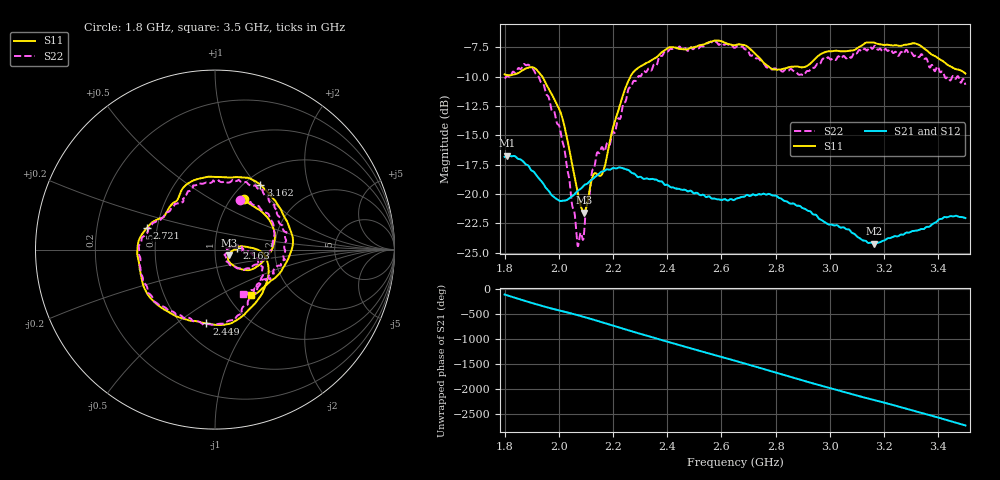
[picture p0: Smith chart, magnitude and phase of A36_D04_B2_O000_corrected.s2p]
! Created with skrf 1.9.0 (http://scikit-rf.org).
# Hz S RI R 50.0
!freq ReS11 ImS11 ReS21 ImS21 ReS12 ImS12 ReS22 ImS22
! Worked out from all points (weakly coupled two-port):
!   1601 points, 1.8 GHz to 3.5 GHz, reference 50 ohm
!   highest |S21| = -16.74 dB at 1.811 GHz (marker M1); lowest = -24.2 dB at 3.162 GHz (marker M2)
!   lowest |S11| = -21.6 dB at 2.093 GHz (marker M3), VSWR 1.18, Z = 58.3 - j3.49 ohm
!   |S11| at or under -10 dB: 1.939 GHz to 2.264 GHz (325.3 MHz wide, 15.5 % of centre)
!   |S22| runs from -24.4 to -7.0 dB; largest |S21 - S12| = 0.0024
!   S11 on the Smith chart (normalised r, x): 1.8 GHz: 1.14, +0.72; 2.163 GHz: 1.28, +0.03; 2.449 GHz: 0.65, -0.65; 2.721 GHz: 0.44, +0.13; 3.162 GHz: 1.17, +1.05; 3.5 GHz: 1.27, -0.73
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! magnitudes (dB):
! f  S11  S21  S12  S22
! 1.8 GHz  -9.8  -16.8  -16.8  -10.2
! 1.811 GHz  -9.9  -16.7  -16.7  -9.9
! 1.882 GHz  -9.3  -17.5  -17.5  -9.0
! 1.942 GHz  -10.1  -19.1  -19.1  -10.6
! 2.011 GHz  -13.4  -20.6  -20.6  -15.4
! 2.068 GHz  -19.7  -19.8  -19.8  -24.2
! 2.084 GHz  -21.2  -19.5  -19.4  -23.4
! 2.093 GHz  -21.6  -19.3  -19.3  -23.3
! 2.129 GHz  -18.3  -18.6  -18.6  -17.8
! 2.163 GHz  -18.1  -18.1  -18.0  -16.1
! 2.203 GHz  -14.1  -17.8  -17.8  -14.7
! 2.26 GHz  -10.2  -18.0  -18.0  -10.9
! 2.367 GHz  -8.2  -18.9  -18.8  -8.5
! 2.449 GHz  -7.7  -19.6  -19.6  -7.5
! 2.65 GHz  -7.3  -20.5  -20.4  -7.6
! 2.721 GHz  -8.0  -20.1  -20.0  -8.3
! 2.796 GHz  -9.4  -20.1  -20.1  -9.3
! 2.934 GHz  -8.8  -21.6  -21.6  -9.3
! 3.162 GHz  -7.1  -24.2  -24.2  -7.5
! 3.217 GHz  -7.3  -23.7  -23.7  -7.8
! 3.323 GHz  -7.2  -23.1  -23.1  -8.2
! 3.5 GHz  -9.8  -22.0  -22.0  -10.7
